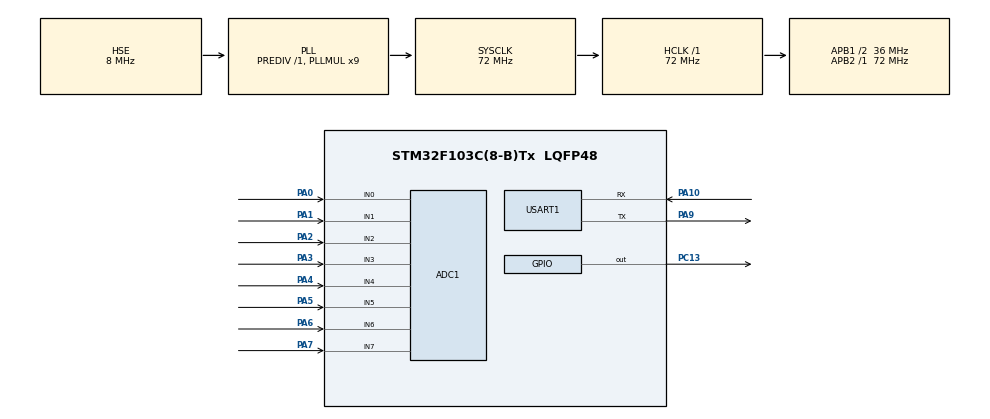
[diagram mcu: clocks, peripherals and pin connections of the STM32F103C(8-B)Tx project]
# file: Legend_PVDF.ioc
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ADC1.Channel-0\#ChannelRegularConversion=ADC_CHANNEL_0
ADC1.Channel-1\#ChannelRegularConversion=ADC_CHANNEL_1
ADC1.Channel-2\#ChannelRegularConversion=ADC_CHANNEL_2
ADC1.Channel-3\#ChannelRegularConversion=ADC_CHANNEL_3
ADC1.Channel-4\#ChannelRegularConversion=ADC_CHANNEL_4
ADC1.Channel-5\#ChannelRegularConversion=ADC_CHANNEL_5
ADC1.Channel-6\#ChannelRegularConversion=ADC_CHANNEL_6
ADC1.Channel-7\#ChannelRegularConversion=ADC_CHANNEL_7
ADC1.DataAlign=ADC_DATAALIGN_RIGHT
ADC1.DiscontinuousConvMode=ENABLE
ADC1.EnableAnalogWatchDog=false
ADC1.NbrOfConversion=8
ADC1.NbrOfConversionFlag=1
ADC1.Rank-0\#ChannelRegularConversion=1
ADC1.Rank-1\#ChannelRegularConversion=2
ADC1.Rank-2\#ChannelRegularConversion=3
ADC1.Rank-3\#ChannelRegularConversion=4
ADC1.Rank-4\#ChannelRegularConversion=5
ADC1.Rank-5\#ChannelRegularConversion=6
ADC1.Rank-6\#ChannelRegularConversion=7
ADC1.Rank-7\#ChannelRegularConversion=8
ADC1.SamplingTime-0\#ChannelRegularConversion=ADC_SAMPLETIME_1CYCLE_5
ADC1.SamplingTime-1\#ChannelRegularConversion=ADC_SAMPLETIME_1CYCLE_5
ADC1.SamplingTime-2\#ChannelRegularConversion=ADC_SAMPLETIME_1CYCLE_5
ADC1.SamplingTime-3\#ChannelRegularConversion=ADC_SAMPLETIME_1CYCLE_5
ADC1.SamplingTime-4\#ChannelRegularConversion=ADC_SAMPLETIME_1CYCLE_5
ADC1.SamplingTime-5\#ChannelRegularConversion=ADC_SAMPLETIME_1CYCLE_5
ADC1.SamplingTime-6\#ChannelRegularConversion=ADC_SAMPLETIME_1CYCLE_5
ADC1.SamplingTime-7\#ChannelRegularConversion=ADC_SAMPLETIME_1CYCLE_5
ADC1.master=1
Mcu.Family=STM32F1
Mcu.Name=STM32F103C(8-B)Tx
Mcu.Package=LQFP48
NVIC.PriorityGroup=NVIC_PRIORITYGROUP_4
NVIC.TIM2_IRQn=true\:0\:0\:false\:false\:true\:true\:true\:true
NVIC.USART1_IRQn=true\:2\:0\:true\:false\:true\:true\:true\:true
PA0-WKUP.Signal=ADCx_IN0
PA1.Signal=ADCx_IN1
PA10.Mode=Asynchronous
PA10.Signal=USART1_RX
PA13.Mode=Serial_Wire
PA13.Signal=SYS_JTMS-SWDIO
PA14.Mode=Serial_Wire
PA14.Signal=SYS_JTCK-SWCLK
PA2.Signal=ADCx_IN2
PA3.Signal=ADCx_IN3
PA4.Signal=ADCx_IN4
PA5.Signal=ADCx_IN5
PA6.Signal=ADCx_IN6
PA7.Signal=ADCx_IN7
PA9.Mode=Asynchronous
PA9.Signal=USART1_TX
PC13-TAMPER-RTC.GPIO_Speed=GPIO_SPEED_FREQ_HIGH
PC13-TAMPER-RTC.Signal=GPIO_Output
PC14-OSC32_IN.Mode=LSE-External-Oscillator
PC14-OSC32_IN.Signal=RCC_OSC32_IN
PC15-OSC32_OUT.Mode=LSE-External-Oscillator
PC15-OSC32_OUT.Signal=RCC_OSC32_OUT
PD0-OSC_IN.Mode=HSE-External-Oscillator
PD0-OSC_IN.Signal=RCC_OSC_IN
PD1-OSC_OUT.Mode=HSE-External-Oscillator
PD1-OSC_OUT.Signal=RCC_OSC_OUT
ProjectManager.HeapSize=0x200
ProjectManager.StackSize=0x400
ProjectManager.TargetToolchain=STM32CubeIDE
RCC.ADCPresc=RCC_ADCPCLK2_DIV6
RCC.AHBFreq_Value=72000000
RCC.APB1CLKDivider=RCC_HCLK_DIV2
RCC.APB1Freq_Value=36000000
RCC.APB1TimFreq_Value=72000000
RCC.APB2Freq_Value=72000000
RCC.APB2TimFreq_Value=72000000
RCC.HCLKFreq_Value=72000000
RCC.PLLMUL=RCC_PLL_MUL9
RCC.PLLSourceVirtual=RCC_PLLSOURCE_HSE
RCC.SYSCLKFreq_VALUE=72000000
RCC.SYSCLKSource=RCC_SYSCLKSOURCE_PLLCLK
RCC.USBFreq_Value=72000000
SH.ADCx_IN0.0=ADC1_IN0,IN0
SH.ADCx_IN1.0=ADC1_IN1,IN1
SH.ADCx_IN2.0=ADC1_IN2,IN2
SH.ADCx_IN3.0=ADC1_IN3,IN3
SH.ADCx_IN4.0=ADC1_IN4,IN4
SH.ADCx_IN5.0=ADC1_IN5,IN5
SH.ADCx_IN6.0=ADC1_IN6,IN6
SH.ADCx_IN7.0=ADC1_IN7,IN7
TIM2.AutoReloadPreload=TIM_AUTORELOAD_PRELOAD_ENABLE
TIM2.Period=49
TIM2.Prescaler=7199
USART1.VirtualMode=VM_ASYNC
VP_TIM2_VS_ClockSourceINT.Mode=Internal
board=custom

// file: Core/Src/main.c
/* USER CODE BEGIN Header */
/**
  ******************************************************************************
  * @file           : main.c
  * @brief          : Main program body
  ******************************************************************************
  * @attention
  *
  * Copyright (c) 2022 STMicroelectronics.
  * All rights reserved.
  *
  * This software is licensed under terms that can be found in the LICENSE file
  * in the root directory of this software component.
  * If no LICENSE file comes with this software, it is provided AS-IS.
  *
  ******************************************************************************
  */
/* USER CODE END Header */
#include "main.h"

ADC_HandleTypeDef hadc1;

TIM_HandleTypeDef htim2;

UART_HandleTypeDef huart1;

/* USER CODE BEGIN PV */
uint8_t tData[20] = {0x00};

uint16_t ADC1_Value[8] = {0x0000};
/* USER CODE END PV */

void SystemClock_Config(void);
static void MX_GPIO_Init(void);
static void MX_ADC1_Init(void);
static void MX_USART1_UART_Init(void);
static void MX_TIM2_Init(void);
/* USER CODE BEGIN PFP */
uint16_t Get_ADC();
/* USER CODE END PFP */

int main(void)
{
  /* USER CODE BEGIN 1 */
  tData[0] = 0xaa;
  tData[1] = 0xbb;
  tData[18] = 0xcc;
  tData[19] = 0xdd;
  /* USER CODE END 1 */

  /* MCU Configuration--------------------------------------------------------*/

  /* Reset of all peripherals, Initializes the Flash interface and the Systick. */
  HAL_Init();

  /* Configure the system clock */
  SystemClock_Config();

  /* Initialize all configured peripherals */
  MX_GPIO_Init();
  MX_ADC1_Init();
  MX_USART1_UART_Init();
  MX_TIM2_Init();
  /* USER CODE BEGIN 2 */
  HAL_TIM_Base_Start_IT(&htim2);
  /* USER CODE END 2 */

  /* Infinite loop */
  while (1)
  {

    /* USER CODE BEGIN 3 */
	  HAL_Delay(100);
  }
  /* USER CODE END 3 */
}

void SystemClock_Config(void)
{
  RCC_OscInitTypeDef RCC_OscInitStruct = {0};
  RCC_ClkInitTypeDef RCC_ClkInitStruct = {0};
  RCC_PeriphCLKInitTypeDef PeriphClkInit = {0};

  /** Initializes the RCC Oscillators according to the specified parameters
  * in the RCC_OscInitTypeDef structure.
  */
  RCC_OscInitStruct.OscillatorType = RCC_OSCILLATORTYPE_HSE;
  RCC_OscInitStruct.HSEState = RCC_HSE_ON;
  RCC_OscInitStruct.HSEPredivValue = RCC_HSE_PREDIV_DIV1;
  RCC_OscInitStruct.HSIState = RCC_HSI_ON;
  RCC_OscInitStruct.PLL.PLLState = RCC_PLL_ON;
  RCC_OscInitStruct.PLL.PLLSource = RCC_PLLSOURCE_HSE;
  RCC_OscInitStruct.PLL.PLLMUL = RCC_PLL_MUL9;
  if (HAL_RCC_OscConfig(&RCC_OscInitStruct) != HAL_OK)
  {
    Error_Handler();
  }

  /** Initializes the CPU, AHB and APB buses clocks
  */
  RCC_ClkInitStruct.ClockType = RCC_CLOCKTYPE_HCLK|RCC_CLOCKTYPE_SYSCLK
                              |RCC_CLOCKTYPE_PCLK1|RCC_CLOCKTYPE_PCLK2;
  RCC_ClkInitStruct.SYSCLKSource = RCC_SYSCLKSOURCE_PLLCLK;
  RCC_ClkInitStruct.AHBCLKDivider = RCC_SYSCLK_DIV1;
  RCC_ClkInitStruct.APB1CLKDivider = RCC_HCLK_DIV2;
  RCC_ClkInitStruct.APB2CLKDivider = RCC_HCLK_DIV1;

  if (HAL_RCC_ClockConfig(&RCC_ClkInitStruct, FLASH_LATENCY_2) != HAL_OK)
  {
    Error_Handler();
  }
  PeriphClkInit.PeriphClockSelection = RCC_PERIPHCLK_ADC;
  PeriphClkInit.AdcClockSelection = RCC_ADCPCLK2_DIV6;
  if (HAL_RCCEx_PeriphCLKConfig(&PeriphClkInit) != HAL_OK)
  {
    Error_Handler();
  }
}

static void MX_ADC1_Init(void)
{

  ADC_ChannelConfTypeDef sConfig = {0};

  /** Common config
  */
  hadc1.Instance = ADC1;
  hadc1.Init.ScanConvMode = ADC_SCAN_ENABLE;
  hadc1.Init.ContinuousConvMode = DISABLE;
  hadc1.Init.DiscontinuousConvMode = ENABLE;
  hadc1.Init.NbrOfDiscConversion = 1;
  hadc1.Init.ExternalTrigConv = ADC_SOFTWARE_START;
  hadc1.Init.DataAlign = ADC_DATAALIGN_RIGHT;
  hadc1.Init.NbrOfConversion = 8;
  if (HAL_ADC_Init(&hadc1) != HAL_OK)
  {
    Error_Handler();
  }

  /** Configure Regular Channel
  */
  sConfig.Channel = ADC_CHANNEL_0;
  sConfig.Rank = ADC_REGULAR_RANK_1;
  sConfig.SamplingTime = ADC_SAMPLETIME_1CYCLE_5;
  if (HAL_ADC_ConfigChannel(&hadc1, &sConfig) != HAL_OK)
  {
    Error_Handler();
  }

  /** Configure Regular Channel
  */
  sConfig.Channel = ADC_CHANNEL_1;
  sConfig.Rank = ADC_REGULAR_RANK_2;
  if (HAL_ADC_ConfigChannel(&hadc1, &sConfig) != HAL_OK)
  {
    Error_Handler();
  }

  /** Configure Regular Channel
  */
  sConfig.Channel = ADC_CHANNEL_2;
  sConfig.Rank = ADC_REGULAR_RANK_3;
  if (HAL_ADC_ConfigChannel(&hadc1, &sConfig) != HAL_OK)
  {
    Error_Handler();
  }

  /** Configure Regular Channel
  */
  sConfig.Channel = ADC_CHANNEL_3;
  sConfig.Rank = ADC_REGULAR_RANK_4;
  if (HAL_ADC_ConfigChannel(&hadc1, &sConfig) != HAL_OK)
  {
    Error_Handler();
  }

  /** Configure Regular Channel
  */
  sConfig.Channel = ADC_CHANNEL_4;
  sConfig.Rank = ADC_REGULAR_RANK_5;
  if (HAL_ADC_ConfigChannel(&hadc1, &sConfig) != HAL_OK)
  {
    Error_Handler();
  }

  /** Configure Regular Channel
  */
  sConfig.Channel = ADC_CHANNEL_5;
  sConfig.Rank = ADC_REGULAR_RANK_6;
  if (HAL_ADC_ConfigChannel(&hadc1, &sConfig) != HAL_OK)
  {
    Error_Handler();
  }

  /** Configure Regular Channel
  */
  sConfig.Channel = ADC_CHANNEL_6;
  sConfig.Rank = ADC_REGULAR_RANK_7;
  if (HAL_ADC_ConfigChannel(&hadc1, &sConfig) != HAL_OK)
  {
    Error_Handler();
  }

  /** Configure Regular Channel
  */
  sConfig.Channel = ADC_CHANNEL_7;
  sConfig.Rank = ADC_REGULAR_RANK_8;
  if (HAL_ADC_ConfigChannel(&hadc1, &sConfig) != HAL_OK)
  {
    Error_Handler();
  }

}

static void MX_TIM2_Init(void)
{

  TIM_ClockConfigTypeDef sClockSourceConfig = {0};
  TIM_MasterConfigTypeDef sMasterConfig = {0};

  htim2.Instance = TIM2;
  htim2.Init.Prescaler = 7199;
  htim2.Init.CounterMode = TIM_COUNTERMODE_UP;
  htim2.Init.Period = 49;
  htim2.Init.ClockDivision = TIM_CLOCKDIVISION_DIV1;
  htim2.Init.AutoReloadPreload = TIM_AUTORELOAD_PRELOAD_ENABLE;
  if (HAL_TIM_Base_Init(&htim2) != HAL_OK)
  {
    Error_Handler();
  }
  sClockSourceConfig.ClockSource = TIM_CLOCKSOURCE_INTERNAL;
  if (HAL_TIM_ConfigClockSource(&htim2, &sClockSourceConfig) != HAL_OK)
  {
    Error_Handler();
  }
  sMasterConfig.MasterOutputTrigger = TIM_TRGO_RESET;
  sMasterConfig.MasterSlaveMode = TIM_MASTERSLAVEMODE_DISABLE;
  if (HAL_TIMEx_MasterConfigSynchronization(&htim2, &sMasterConfig) != HAL_OK)
  {
    Error_Handler();
  }

}

static void MX_USART1_UART_Init(void)
{

  huart1.Instance = USART1;
  huart1.Init.BaudRate = 115200;
  huart1.Init.WordLength = UART_WORDLENGTH_8B;
  huart1.Init.StopBits = UART_STOPBITS_1;
  huart1.Init.Parity = UART_PARITY_NONE;
  huart1.Init.Mode = UART_MODE_TX_RX;
  huart1.Init.HwFlowCtl = UART_HWCONTROL_NONE;
  huart1.Init.OverSampling = UART_OVERSAMPLING_16;
  if (HAL_UART_Init(&huart1) != HAL_OK)
  {
    Error_Handler();
  }

}

static void MX_GPIO_Init(void)
{
  GPIO_InitTypeDef GPIO_InitStruct = {0};

  /* GPIO Ports Clock Enable */
  __HAL_RCC_GPIOC_CLK_ENABLE();
  __HAL_RCC_GPIOD_CLK_ENABLE();
  __HAL_RCC_GPIOA_CLK_ENABLE();

  /*Configure GPIO pin Output Level */
  HAL_GPIO_WritePin(GPIOC, GPIO_PIN_13, GPIO_PIN_RESET);

  /*Configure GPIO pin : PC13 */
  GPIO_InitStruct.Pin = GPIO_PIN_13;
  GPIO_InitStruct.Mode = GPIO_MODE_OUTPUT_PP;
  GPIO_InitStruct.Pull = GPIO_NOPULL;
  GPIO_InitStruct.Speed = GPIO_SPEED_FREQ_HIGH;
  HAL_GPIO_Init(GPIOC, &GPIO_InitStruct);

}

/* USER CODE BEGIN 4 */
/**
 *Get ADC_Value
 */
uint16_t Get_ADC()
{
	HAL_ADC_Start(&hadc1);  //先开启ADC
	HAL_ADC_PollForConversion(&hadc1,100);
    if(HAL_IS_BIT_SET(HAL_ADC_GetState(&hadc1),HAL_ADC_STATE_REG_EOC)){
         //读取值
       return HAL_ADC_GetValue(&hadc1);
    }
	return 0;
}

void HAL_TIM_PeriodElapsedCallback(TIM_HandleTypeDef *htim)
{
	HAL_GPIO_TogglePin(GPIOC,GPIO_PIN_13);
	for(uint8_t i=0;i<=7;i++){
	  //分别存放通道0、1、2、3的ADC值
	  ADC1_Value[i]=Get_ADC();
	}

	tData[2] = (uint8_t)(ADC1_Value[0]>>8);
	tData[3] = (uint8_t)ADC1_Value[0];
	tData[4] = (uint8_t)(ADC1_Value[1]>>8);
	tData[5] = (uint8_t)ADC1_Value[1];
	tData[6] = (uint8_t)(ADC1_Value[2]>>8);
	tData[7] = (uint8_t)ADC1_Value[2];
	tData[8] = (uint8_t)(ADC1_Value[3]>>8);
	tData[9] = (uint8_t)ADC1_Value[3];
	tData[10] = (uint8_t)(ADC1_Value[4]>>8);
	tData[11] = (uint8_t)ADC1_Value[4];
	tData[12] = (uint8_t)(ADC1_Value[5]>>8);
	tData[13] = (uint8_t)ADC1_Value[5];
	tData[14] = (uint8_t)(ADC1_Value[6]>>8);
	tData[15] = (uint8_t)ADC1_Value[6];
	tData[16] = (uint8_t)(ADC1_Value[7]>>8);
	tData[17] = (uint8_t)ADC1_Value[7];
	HAL_UART_Transmit(&huart1,tData,20,100);
}

/* USER CODE END 4 */

void Error_Handler(void)
{
  __disable_irq();
  while (1)
  {
  }
}
